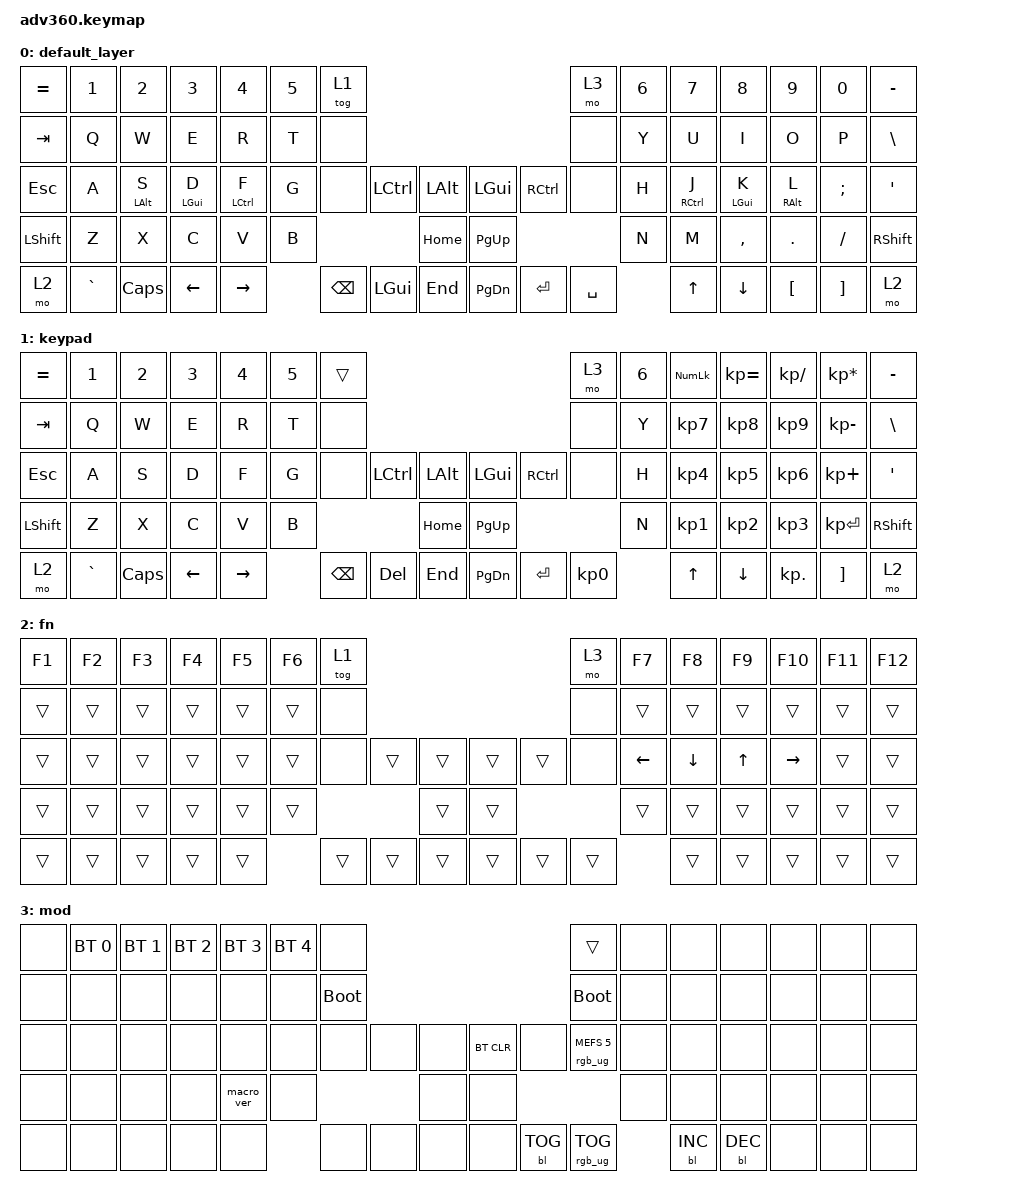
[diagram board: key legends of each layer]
#include <behaviors.dtsi>
#include <dt-bindings/zmk/backlight.h>
#include <dt-bindings/zmk/bt.h>
#include <dt-bindings/zmk/keys.h>
#include <dt-bindings/zmk/rgb.h>

/ {
    behaviors {
        #include "macros.dtsi"
      #include "version.dtsi"
      #ifndef VERSION_MACRO

        macro_ver: macro_ver {
            compatible = "zmk,behavior-macro";
            label = "macro_version";
            #binding-cells = <0>;
            bindings = <&kp RET>;
        };

        #endif

        hm: homerow_mods {
            compatible = "zmk,behavior-hold-tap";
            label = "HOMEROW_MODS";
            #binding-cells = <2>;
            tapping-term-ms = <200>;
            quick_tap_ms = <175>;
            flavor = "tap-preferred";
            bindings = <&kp>, <&kp>;
        };

        hmr: hmr {
            compatible = "zmk,behavior-hold-tap";
            label = "HMR";
            bindings = <&kp>, <&kp>;

            #binding-cells = <2>;
            tapping-term-ms = <280>;
            quick-tap-ms = <175>;
            flavor = "balanced";
            hold-trigger-on-release;
            hold-trigger-key-positions = <0 1 2 3 4 5 6 14 15 16 17 18 19 20 28 29 30 31 32 33 34 46 47 48 49 50 51 60 61 62 63 64 65 66 35 36 37 38 52 53 66 67 68 69 70>;
        };

        hml: hml {
            compatible = "zmk,behavior-hold-tap";
            label = "HML";
            bindings = <&kp>, <&kp>;

            #binding-cells = <2>;
            tapping-term-ms = <280>;
            quick-tap-ms = <175>;
            flavor = "balanced";
            hold-trigger-key-positions = <7 8 9 10 11 12 13 21 22 23 24 25 26 27 38 39 40 41 42 43 44 45 54 55 56 57 58 59 69 70 71 72 73 74 75 35 36 37 52 53 65 66 67 68>;
            hold-trigger-on-release;
        };
    };

    macros {
    };

    keymap {
        compatible = "zmk,keymap";

        default_layer {
            bindings = <
&kp EQUAL  &kp N1     &kp N2           &kp N3           &kp N4        &kp N5  &tog 1                                                   &mo 3      &kp N6  &kp N7        &kp N8           &kp N9            &kp N0    &kp MINUS
&kp TAB    &kp Q      &kp W            &kp E            &kp R         &kp T   &none                                                    &none      &kp Y   &kp U         &kp I            &kp O             &kp P     &kp BSLH
&kp ESC    &kp A      &hml LEFT_ALT S  &hml LEFT_GUI D  &hml LCTRL F  &kp G   &none     &kp LCTRL  &kp LALT      &kp LGUI   &kp RCTRL  &none      &kp H   &hmr RCTRL J  &hmr LEFT_GUI K  &hmr RIGHT_ALT L  &kp SEMI  &kp SQT
&kp LSHFT  &kp Z      &kp X            &kp C            &kp V         &kp B                        &kp HOME      &kp PG_UP                        &kp N   &kp M         &kp COMMA        &kp DOT           &kp FSLH  &kp RSHFT
&mo 2      &kp GRAVE  &kp CAPS         &kp LEFT         &kp RIGHT             &kp BSPC  &kp LGUI   &kp END       &kp PG_DN  &kp ENTER  &kp SPACE          &kp UP        &kp DOWN         &kp LBKT          &kp RBKT  &mo 2
            >;
        };

        keypad {
            bindings = <
&kp EQUAL  &kp N1     &kp N2    &kp N3    &kp N4     &kp N5  &trans                                                   &mo 3      &kp N6  &kp KP_NUM  &kp KP_EQUAL  &kp KP_DIVIDE  &kp KP_MULTIPLY  &kp MINUS
&kp TAB    &kp Q      &kp W     &kp E     &kp R      &kp T   &none                                                    &none      &kp Y   &kp KP_N7   &kp KP_N8     &kp KP_N9      &kp KP_MINUS     &kp BSLH
&kp ESC    &kp A      &kp S     &kp D     &kp F      &kp G   &none     &kp LCTRL  &kp LALT      &kp LGUI   &kp RCTRL  &none      &kp H   &kp KP_N4   &kp KP_N5     &kp KP_N6      &kp KP_PLUS      &kp SQT
&kp LSHFT  &kp Z      &kp X     &kp C     &kp V      &kp B                        &kp HOME      &kp PG_UP                        &kp N   &kp KP_N1   &kp KP_N2     &kp KP_N3      &kp KP_ENTER     &kp RSHFT
&mo 2      &kp GRAVE  &kp CAPS  &kp LEFT  &kp RIGHT          &kp BSPC  &kp DEL    &kp END       &kp PG_DN  &kp ENTER  &kp KP_N0          &kp UP      &kp DOWN      &kp KP_DOT     &kp RBKT         &mo 2
            >;
        };

        fn {
            bindings = <
&kp F1  &kp F2  &kp F3  &kp F4  &kp F5  &kp F6  &tog 1                                      &mo 3   &kp F7    &kp F8    &kp F9  &kp F10    &kp F11  &kp F12
&trans  &trans  &trans  &trans  &trans  &trans  &none                                       &none   &trans    &trans    &trans  &trans     &trans   &trans
&trans  &trans  &trans  &trans  &trans  &trans  &none   &trans  &trans      &trans  &trans  &none   &kp LEFT  &kp DOWN  &kp UP  &kp RIGHT  &trans   &trans
&trans  &trans  &trans  &trans  &trans  &trans                  &trans      &trans                  &trans    &trans    &trans  &trans     &trans   &trans
&trans  &trans  &trans  &trans  &trans          &trans  &trans  &trans      &trans  &trans  &trans            &trans    &trans  &trans     &trans   &trans
            >;
        };

        mod {
            bindings = <
&none  &bt BT_SEL 0  &bt BT_SEL 1  &bt BT_SEL 2  &bt BT_SEL 3  &bt BT_SEL 4  &none                                                  &trans                  &none  &none       &none       &none  &none  &none
&none  &none         &none         &none         &none         &none         &bootloader                                            &bootloader             &none  &none       &none       &none  &none  &none
&none  &none         &none         &none         &none         &none         &none        &none  &none      &bt BT_CLR  &none       &rgb_ug RGB_MEFS_CMD 5  &none  &none       &none       &none  &none  &none
&none  &none         &none         &none         &macro_ver    &none                             &none      &none                                           &none  &none       &none       &none  &none  &none
&none  &none         &none         &none         &none                       &none        &none  &none      &none       &bl BL_TOG  &rgb_ug RGB_TOG                &bl BL_INC  &bl BL_DEC  &none  &none  &none
            >;
        };
    };
};
